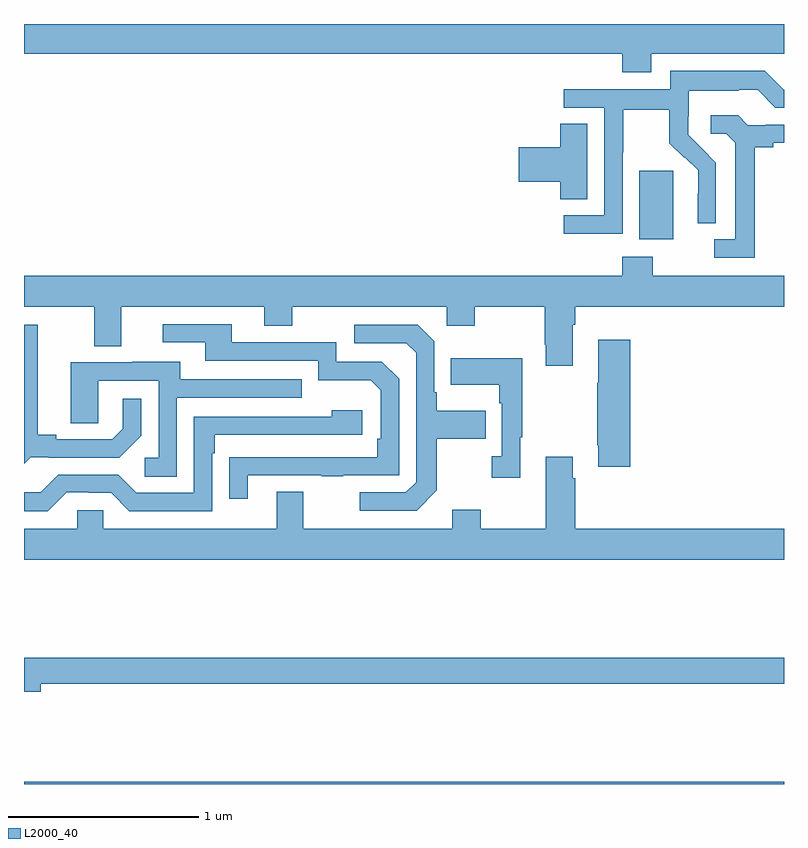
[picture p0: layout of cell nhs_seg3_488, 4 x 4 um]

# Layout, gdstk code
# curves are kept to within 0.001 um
import gdstk
lib = gdstk.Library(unit=1e-6, precision=1e-09)
def R(c, l, rs):  # rectangles x0, y0, x1, y1
    for r in rs: c.add(gdstk.rectangle(r[:2], r[2:], *l))
def P(c, l, *ps):  # polygons
    for p in ps: c.add(gdstk.Polygon(p, *l))
L2000_40 = (2000, 40)

nhs_seg3_488 = lib.new_cell('nhs_seg3_488')
R(nhs_seg3_488, L2000_40, [(135,702.4,139,702.412), (138.239,705.266,138.418,705.627)])
P(nhs_seg3_488, L2000_40, [(138.301,706.244),(139,706.244),(139,706.4),(135,706.4),(135,706.244),(138.149,706.244),(138.149,706.145),(138.301,706.145)],
  [(138.15,705.724),(138.153,705.724),(138.153,705.948),(138.397,705.948),(138.397,705.773),(138.474,705.696),(138.477,705.699),(138.548,705.629),(138.548,705.506),(138.546,705.506),(138.546,705.352),(138.642,705.352),(138.642,705.67),(138.496,705.818),(138.496,705.915),(138.498,705.915),(138.498,706.049),(138.761,706.049),(138.761,706.053),(138.861,706.053),(138.954,705.96),(139,705.96),(139,706.053),(138.899,706.153),(138.402,706.153),(138.402,706.056),(137.841,706.056),(137.841,705.96),(138.054,705.96),(138.054,705.393),(137.841,705.393),(137.841,705.295),(138.15,705.295)],
  [(138.847,705.752),(138.943,705.752),(138.943,705.774),(139,705.774),(139,705.87),(138.904,705.87),(138.904,705.867),(138.81,705.867),(138.758,705.919),(138.615,705.919),(138.615,705.822),(138.696,705.822),(138.743,705.775),(138.743,705.267),(138.633,705.267),(138.633,705.171),(138.847,705.171)],
  [(137.965,705.875),(137.822,705.875),(137.822,705.752),(137.604,705.752),(137.604,705.569),(137.822,705.569),(137.822,705.478),(137.965,705.478)],
  [(137.887,704.816),(137.9,704.816),(137.9,704.912),(139,704.912),(139,705.076),(138.309,705.076),(138.309,705.175),(138.149,705.175),(138.149,705.076),(135,705.076),(135,704.912),(135.371,704.912),(135.371,704.704),(135.511,704.704),(135.511,704.912),(136.265,704.912),(136.265,704.813),(136.413,704.813),(136.413,704.912),(137.226,704.912),(137.226,704.813),(137.373,704.813),(137.373,704.912),(137.74,704.912),(137.74,704.713),(137.747,704.713),(137.747,704.601),(137.887,704.601)],
  [(136.177,704.025),(136.567,704.025),(136.567,704.02),(136.679,704.02),(136.679,704.025),(136.974,704.025),(136.974,704.532),(136.884,704.622),(136.644,704.622),(136.644,704.724),(136.093,704.724),(136.093,704.82),(135.729,704.82),(135.729,704.724),(135.953,704.724),(135.953,704.628),(136.548,704.628),(136.548,704.525),(136.825,704.525),(136.878,704.472),(136.878,704.218),(136.858,704.218),(136.858,704.121),(136.081,704.12),(136.081,703.902),(136.177,703.902)],
  [(137.173,703.945),(137.173,704.218),(137.429,704.218),(137.429,704.365),(137.173,704.365),(137.173,704.461),(137.16,704.461),(137.16,704.73),(137.073,704.817),(136.737,704.817),(136.737,704.721),(137.013,704.721),(137.064,704.67),(137.064,703.989),(137.01,703.935),(136.767,703.935),(136.767,703.839),(137.067,703.839)],
  [(135.036,704.121),(135.13,704.121),(135.13,704.118),(135.502,704.118),(135.618,704.234),(135.618,704.428),(135.521,704.428),(135.521,704.271),(135.464,704.214),(135.169,704.214),(135.169,704.237),(135.073,704.237),(135.073,704.817),(135,704.817),(135,704.085)],
  [(138.191,704.737),(138.023,704.737),(138.023,704.513),(138.016,704.513),(138.016,704.182),(138.023,704.182),(138.023,704.07),(138.191,704.07)],
  [(137.611,704.225),(137.623,704.225),(137.623,704.641),(137.245,704.641),(137.245,704.501),(137.502,704.501),(137.502,704.405),(137.514,704.405),(137.514,704.126),(137.463,704.126),(137.463,704.013),(137.611,704.013)],
  [(135.804,704.433),(136.463,704.433),(136.463,704.529),(135.823,704.529),(135.823,704.623),(135.569,704.623),(135.569,704.619),(135.245,704.619),(135.245,704.299),(135.39,704.299),(135.39,704.523),(135.708,704.523),(135.708,704.118),(135.636,704.118),(135.636,704.017),(135.804,704.017)],
  [(135.225,703.935),(135.341,703.935),(135.341,703.932),(135.459,703.932),(135.555,703.836),(135.99,703.836),(135.99,704.141),(136.003,704.141),(136.003,704.238),(136.78,704.238),(136.78,704.368),(136.619,704.368),(136.619,704.334),(135.894,704.334),(135.894,703.932),(135.591,703.932),(135.495,704.028),(135.18,704.028),(135.087,703.935),(135,703.935),(135,703.835),(135.125,703.835)],
  [(139,703.744),(137.9,703.744),(137.9,704.009),(137.887,704.009),(137.887,704.122),(137.747,704.122),(137.747,703.744),(137.403,703.744),(137.403,703.843),(137.255,703.843),(137.255,703.744),(136.471,703.744),(136.471,703.939),(136.331,703.939),(136.331,703.744),(135.417,703.744),(135.417,703.842),(135.279,703.842),(135.279,703.744),(135,703.744),(135,703.58),(139,703.58)],
  [(135.088,702.928),(139,702.928),(139,703.064),(135,703.064),(135,702.886),(135.088,702.886)])

lib.write_gds('nhs_seg3_488.gds')
